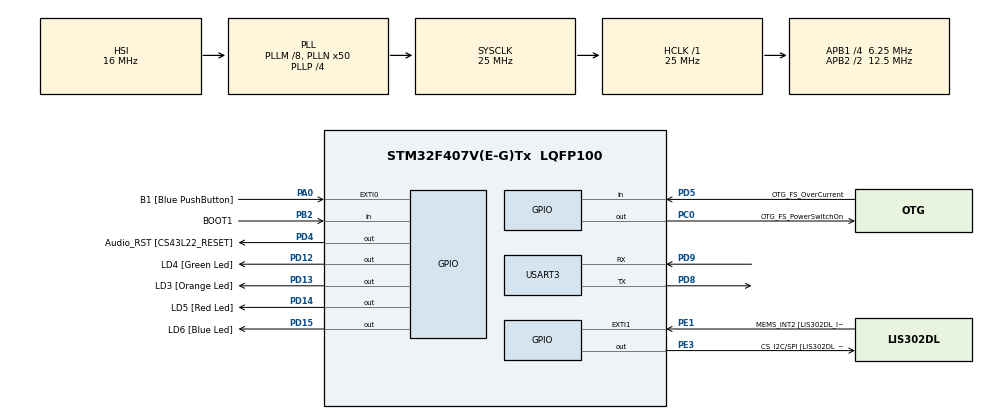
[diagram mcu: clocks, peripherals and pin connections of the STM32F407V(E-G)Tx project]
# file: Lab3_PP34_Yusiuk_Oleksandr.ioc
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FREERTOS.BinarySemaphores01=LEDBinarySemaphore,Dynamic,NULL,Depleted
FREERTOS.Tasks01=defaultTask,24,128,StartDefaultTask,Default,NULL,Dynamic,NULL,NULL;threadBlueLED,8,128,StartBlueLED,Default,NULL,Dynamic,NULL,NULL;threadRedLED,8,128,StartRedLED,Default,NULL,Dynamic,NULL,NULL;threadOrangeLED,8,128,StartOrangeLED,Default,NULL,Dynamic,NULL,NULL;threadGreenLED,8,128,StartGreenLED,Default,NULL,Dynamic,NULL,NULL
FREERTOS.configUSE_NEWLIB_REENTRANT=1
Mcu.Family=STM32F4
Mcu.Name=STM32F407V(E-G)Tx
Mcu.Package=LQFP100
NVIC.PriorityGroup=NVIC_PRIORITYGROUP_4
NVIC.TIM1_UP_TIM10_IRQn=true\:15\:0\:false\:false\:true\:false\:false\:true\:true
NVIC.TimeBase=TIM1_UP_TIM10_IRQn
NVIC.TimeBaseIP=TIM1
PA0-WKUP.GPIO_Label=B1 [Blue PushButton]
PA0-WKUP.Signal=GPXTI0
PA10.GPIO_Label=OTG_FS_ID
PA10.GPIO_Mode=GPIO_MODE_AF_PP
PA10.GPIO_PuPd=GPIO_NOPULL
PA10.GPIO_Speed=GPIO_SPEED_FREQ_LOW
PA10.Signal=USB_OTG_FS_ID
PA11.GPIO_Label=OTG_FS_DM
PA11.GPIO_Mode=GPIO_MODE_AF_PP
PA11.GPIO_PuPd=GPIO_NOPULL
PA11.GPIO_Speed=GPIO_SPEED_FREQ_LOW
PA11.Signal=USB_OTG_FS_DM
PA12.GPIO_Label=OTG_FS_DP
PA12.GPIO_Mode=GPIO_MODE_AF_PP
PA12.GPIO_PuPd=GPIO_NOPULL
PA12.GPIO_Speed=GPIO_SPEED_FREQ_LOW
PA12.Signal=USB_OTG_FS_DP
PA13.GPIO_Label=SWDIO
PA13.Signal=SYS_JTMS-SWDIO
PA14.GPIO_Label=SWCLK
PA14.Signal=SYS_JTCK-SWCLK
PA4.GPIO_Label=I2S3_WS [CS43L22_LRCK]
PA4.GPIO_Mode=GPIO_MODE_AF_PP
PA4.GPIO_PuPd=GPIO_NOPULL
PA4.GPIO_Speed=GPIO_SPEED_FREQ_LOW
PA4.Signal=I2S3_WS
PA5.GPIO_Label=SPI1_SCK [LIS302DL_SCL/SPC]
PA5.GPIO_Mode=GPIO_MODE_AF_PP
PA5.GPIO_PuPd=GPIO_NOPULL
PA5.GPIO_Speed=GPIO_SPEED_FREQ_LOW
PA5.Signal=SPI1_SCK
PA6.GPIO_Label=SPI1_MISO [LIS302DL_SDO]
PA6.GPIO_Mode=GPIO_MODE_AF_PP
PA6.GPIO_PuPd=GPIO_NOPULL
PA6.GPIO_Speed=GPIO_SPEED_FREQ_LOW
PA6.Signal=SPI1_MISO
PA7.GPIO_Label=SPI1_MOSI [LIS302DL_SDA/SDI/SDO]
PA7.GPIO_Mode=GPIO_MODE_AF_PP
PA7.GPIO_PuPd=GPIO_NOPULL
PA7.GPIO_Speed=GPIO_SPEED_FREQ_LOW
PA7.Signal=SPI1_MOSI
PA9.GPIO_Label=VBUS_FS
PA9.GPIO_Mode=GPIO_MODE_INPUT
PA9.GPIO_PuPd=GPIO_NOPULL
PA9.Signal=USB_OTG_FS_VBUS
PB10.GPIO_Label=CLK_IN [MP45DT02_CLK]
PB10.GPIO_Mode=GPIO_MODE_AF_PP
PB10.GPIO_PuPd=GPIO_NOPULL
PB10.GPIO_Speed=GPIO_SPEED_FREQ_LOW
PB10.Signal=I2S2_CK
PB2.GPIO_Label=BOOT1
PB2.GPIO_Mode=GPIO_MODE_INPUT
PB2.GPIO_PuPd=GPIO_NOPULL
PB2.Signal=GPIO_Input
PB3.GPIO_Label=SWO
PB3.Signal=SYS_JTDO-SWO
PB6.GPIO_Label=Audio_SCL [CS43L22_SCL]
PB6.GPIO_Mode=GPIO_MODE_AF_OD
PB6.GPIO_PuPd=GPIO_NOPULL
PB6.GPIO_Speed=GPIO_SPEED_FREQ_LOW
PB6.Signal=I2C1_SCL
PB9.GPIO_Label=Audio_SDA [CS43L22_SDA]
PB9.GPIO_Mode=GPIO_MODE_AF_OD
PB9.GPIO_PuPd=GPIO_NOPULL
PB9.GPIO_Speed=GPIO_SPEED_FREQ_LOW
PB9.Signal=I2C1_SDA
PC0.GPIO_Label=OTG_FS_PowerSwitchOn
PC0.GPIO_PuPd=GPIO_NOPULL
PC0.GPIO_Speed=GPIO_SPEED_FREQ_LOW
PC0.PinState=GPIO_PIN_SET
PC0.Signal=GPIO_Output
PC10.GPIO_Label=I2S3_SCK [CS43L22_SCLK]
PC10.GPIO_Mode=GPIO_MODE_AF_PP
PC10.GPIO_PuPd=GPIO_NOPULL
PC10.GPIO_Speed=GPIO_SPEED_FREQ_LOW
PC10.Signal=I2S3_CK
PC12.GPIO_Label=I2S3_SD [CS43L22_SDIN]
PC12.GPIO_Mode=GPIO_MODE_AF_PP
PC12.GPIO_PuPd=GPIO_NOPULL
PC12.GPIO_Speed=GPIO_SPEED_FREQ_LOW
PC12.Signal=I2S3_SD
PC14-OSC32_IN.GPIO_Label=PC14-OSC32_IN
PC14-OSC32_IN.Signal=RCC_OSC32_IN
PC15-OSC32_OUT.GPIO_Label=PC15-OSC32_OUT
PC15-OSC32_OUT.Signal=RCC_OSC32_OUT
PC3.GPIO_Label=PDM_OUT [MP45DT02_DOUT]
PC3.GPIO_Mode=GPIO_MODE_AF_PP
PC3.GPIO_PuPd=GPIO_NOPULL
PC3.GPIO_Speed=GPIO_SPEED_FREQ_LOW
PC3.Signal=I2S2_SD
PC7.GPIO_Label=I2S3_MCK [CS43L22_MCLK]
PC7.GPIO_Mode=GPIO_MODE_AF_PP
PC7.GPIO_PuPd=GPIO_NOPULL
PC7.GPIO_Speed=GPIO_SPEED_FREQ_LOW
PC7.Signal=I2S3_MCK
PD12.GPIO_Label=LD4 [Green Led]
PD12.GPIO_PuPd=GPIO_NOPULL
PD12.GPIO_Speed=GPIO_SPEED_FREQ_LOW
PD12.Signal=GPIO_Output
PD13.GPIO_Label=LD3 [Orange Led]
PD13.GPIO_PuPd=GPIO_NOPULL
PD13.GPIO_Speed=GPIO_SPEED_FREQ_LOW
PD13.Signal=GPIO_Output
PD14.GPIO_Label=LD5 [Red Led]
PD14.GPIO_PuPd=GPIO_NOPULL
PD14.GPIO_Speed=GPIO_SPEED_FREQ_LOW
PD14.Signal=GPIO_Output
PD15.GPIO_Label=LD6 [Blue Led]
PD15.GPIO_PuPd=GPIO_NOPULL
PD15.GPIO_Speed=GPIO_SPEED_FREQ_LOW
PD15.Signal=GPIO_Output
PD4.GPIO_Label=Audio_RST [CS43L22_RESET]
PD4.GPIO_PuPd=GPIO_NOPULL
PD4.GPIO_Speed=GPIO_SPEED_FREQ_LOW
PD4.Signal=GPIO_Output
PD5.GPIO_Label=OTG_FS_OverCurrent
PD5.GPIO_Mode=GPIO_MODE_INPUT
PD5.GPIO_PuPd=GPIO_NOPULL
PD5.Signal=GPIO_Input
PD8.Mode=Asynchronous
PD8.Signal=USART3_TX
PD9.Mode=Asynchronous
PD9.Signal=USART3_RX
PE1.GPIO_Label=MEMS_INT2 [LIS302DL_INT2]
PE1.GPIO_ModeDefaultEXTI=GPIO_MODE_EVT_RISING
PE1.GPIO_PuPd=GPIO_NOPULL
PE1.Signal=GPXTI1
PE3.GPIO_Label=CS_I2C/SPI [LIS302DL_CS_I2C/SPI]
PE3.GPIO_PuPd=GPIO_NOPULL
PE3.GPIO_Speed=GPIO_SPEED_FREQ_LOW
PE3.Signal=GPIO_Output
PH0-OSC_IN.GPIO_Label=PH0-OSC_IN
PH0-OSC_IN.Signal=RCC_OSC_IN
PH1-OSC_OUT.GPIO_Label=PH1-OSC_OUT
PH1-OSC_OUT.Signal=RCC_OSC_OUT
ProjectManager.HeapSize=0x200
ProjectManager.StackSize=0x400
ProjectManager.TargetToolchain=STM32CubeIDE
RCC.48MHZClocksFreq_Value=14285714.285714285
RCC.AHBFreq_Value=25000000
RCC.APB1CLKDivider=RCC_HCLK_DIV4
RCC.APB1Freq_Value=6250000
RCC.APB1TimFreq_Value=12500000
RCC.APB2CLKDivider=RCC_HCLK_DIV2
RCC.APB2Freq_Value=12500000
RCC.APB2TimFreq_Value=25000000
RCC.CortexFreq_Value=25000000
RCC.HCLKFreq_Value=25000000
RCC.HSE_VALUE=8000000
RCC.HSI_VALUE=16000000
RCC.LSE_VALUE=32768
RCC.PLLM=8
RCC.PLLN=50
RCC.PLLP=RCC_PLLP_DIV4
RCC.PLLQ=7
RCC.SYSCLKFreq_VALUE=25000000
RCC.SYSCLKSource=RCC_SYSCLKSOURCE_PLLCLK
RCC.VCOOutputFreq_Value=100000000
USART3.VirtualMode=VM_ASYNC
VP_FREERTOS_VS_CMSIS_V2.Mode=CMSIS_V2
VP_SYS_VS_tim1.Mode=TIM1
board=STM32F407G-DISC1

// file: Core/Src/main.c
/* USER CODE BEGIN Header */
/**
  ******************************************************************************
  * @file           : main.c
  * @brief          : Main program body
  ******************************************************************************
  * @attention
  *
  * Copyright (c) 2024 STMicroelectronics.
  * All rights reserved.
  *
  * This software is licensed under terms that can be found in the LICENSE file
  * in the root directory of this software component.
  * If no LICENSE file comes with this software, it is provided AS-IS.
  *
  ******************************************************************************
  */
/* USER CODE END Header */
#include "main.h"
#include "cmsis_os.h"

#include "stdio.h"

UART_HandleTypeDef huart3;

/* Definitions for defaultTask */
osThreadId_t defaultTaskHandle;
const osThreadAttr_t defaultTask_attributes = {
  .name = "defaultTask",
  .stack_size = 128 * 4,
  .priority = (osPriority_t) osPriorityNormal,
};
/* Definitions for threadBlueLED */
osThreadId_t threadBlueLEDHandle;
const osThreadAttr_t threadBlueLED_attributes = {
  .name = "threadBlueLED",
  .stack_size = 128 * 4,
  .priority = (osPriority_t) osPriorityLow,
};
/* Definitions for threadRedLED */
osThreadId_t threadRedLEDHandle;
const osThreadAttr_t threadRedLED_attributes = {
  .name = "threadRedLED",
  .stack_size = 128 * 4,
  .priority = (osPriority_t) osPriorityLow,
};
/* Definitions for threadOrangeLED */
osThreadId_t threadOrangeLEDHandle;
const osThreadAttr_t threadOrangeLED_attributes = {
  .name = "threadOrangeLED",
  .stack_size = 128 * 4,
  .priority = (osPriority_t) osPriorityLow,
};
/* Definitions for threadGreenLED */
osThreadId_t threadGreenLEDHandle;
const osThreadAttr_t threadGreenLED_attributes = {
  .name = "threadGreenLED",
  .stack_size = 128 * 4,
  .priority = (osPriority_t) osPriorityLow,
};
/* Definitions for LEDBinarySemaphore */
osSemaphoreId_t LEDBinarySemaphoreHandle;
const osSemaphoreAttr_t LEDBinarySemaphore_attributes = {
  .name = "LEDBinarySemaphore"
};
/* USER CODE BEGIN PV */
int16_t currentClick = 0;
int16_t prevClick = 0;
/* USER CODE END PV */

void SystemClock_Config(void);
static void MX_GPIO_Init(void);
static void MX_USART3_UART_Init(void);
void StartDefaultTask(void *argument);
void StartBlueLED(void *argument);
void StartRedLED(void *argument);
void StartOrangeLED(void *argument);
void StartGreenLED(void *argument);

/* USER CODE BEGIN 0 */
int __io_putchar(int ch)
{
	HAL_UART_Transmit(&huart3, (uint8_t *)&ch, 1, 200);
	return ch;
}
/* USER CODE END 0 */

int main(void)
{

  /* MCU Configuration--------------------------------------------------------*/

  /* Reset of all peripherals, Initializes the Flash interface and the Systick. */
  HAL_Init();

  /* Configure the system clock */
  SystemClock_Config();

  /* Initialize all configured peripherals */
  MX_GPIO_Init();
  MX_USART3_UART_Init();
  /* USER CODE BEGIN 2 */
  printf("ehskere\n\r");
  /* USER CODE END 2 */

  /* Init scheduler */
  osKernelInitialize();

  /* Create the semaphores(s) */
  /* creation of LEDBinarySemaphore */
  LEDBinarySemaphoreHandle = osSemaphoreNew(1, 0, &LEDBinarySemaphore_attributes);

  /* Create the thread(s) */
  /* creation of defaultTask */
  defaultTaskHandle = osThreadNew(StartDefaultTask, NULL, &defaultTask_attributes);

  /* creation of threadBlueLED */
  threadBlueLEDHandle = osThreadNew(StartBlueLED, NULL, &threadBlueLED_attributes);

  /* creation of threadRedLED */
  threadRedLEDHandle = osThreadNew(StartRedLED, NULL, &threadRedLED_attributes);

  /* creation of threadOrangeLED */
  threadOrangeLEDHandle = osThreadNew(StartOrangeLED, NULL, &threadOrangeLED_attributes);

  /* creation of threadGreenLED */
  threadGreenLEDHandle = osThreadNew(StartGreenLED, NULL, &threadGreenLED_attributes);

  /* Start scheduler */
  osKernelStart();

  /* We should never get here as control is now taken by the scheduler */

  /* Infinite loop */
  while (1)
  {

  }
}

void SystemClock_Config(void)
{
  RCC_OscInitTypeDef RCC_OscInitStruct = {0};
  RCC_ClkInitTypeDef RCC_ClkInitStruct = {0};

  /** Configure the main internal regulator output voltage
  */
  __HAL_RCC_PWR_CLK_ENABLE();
  __HAL_PWR_VOLTAGESCALING_CONFIG(PWR_REGULATOR_VOLTAGE_SCALE1);

  /** Initializes the RCC Oscillators according to the specified parameters
  * in the RCC_OscInitTypeDef structure.
  */
  RCC_OscInitStruct.OscillatorType = RCC_OSCILLATORTYPE_HSI;
  RCC_OscInitStruct.HSIState = RCC_HSI_ON;
  RCC_OscInitStruct.HSICalibrationValue = RCC_HSICALIBRATION_DEFAULT;
  RCC_OscInitStruct.PLL.PLLState = RCC_PLL_ON;
  RCC_OscInitStruct.PLL.PLLSource = RCC_PLLSOURCE_HSI;
  RCC_OscInitStruct.PLL.PLLM = 8;
  RCC_OscInitStruct.PLL.PLLN = 50;
  RCC_OscInitStruct.PLL.PLLP = RCC_PLLP_DIV4;
  RCC_OscInitStruct.PLL.PLLQ = 7;
  if (HAL_RCC_OscConfig(&RCC_OscInitStruct) != HAL_OK)
  {
    Error_Handler();
  }

  /** Initializes the CPU, AHB and APB buses clocks
  */
  RCC_ClkInitStruct.ClockType = RCC_CLOCKTYPE_HCLK|RCC_CLOCKTYPE_SYSCLK
                              |RCC_CLOCKTYPE_PCLK1|RCC_CLOCKTYPE_PCLK2;
  RCC_ClkInitStruct.SYSCLKSource = RCC_SYSCLKSOURCE_PLLCLK;
  RCC_ClkInitStruct.AHBCLKDivider = RCC_SYSCLK_DIV1;
  RCC_ClkInitStruct.APB1CLKDivider = RCC_HCLK_DIV4;
  RCC_ClkInitStruct.APB2CLKDivider = RCC_HCLK_DIV2;

  if (HAL_RCC_ClockConfig(&RCC_ClkInitStruct, FLASH_LATENCY_0) != HAL_OK)
  {
    Error_Handler();
  }
}

static void MX_USART3_UART_Init(void)
{

  huart3.Instance = USART3;
  huart3.Init.BaudRate = 115200;
  huart3.Init.WordLength = UART_WORDLENGTH_8B;
  huart3.Init.StopBits = UART_STOPBITS_1;
  huart3.Init.Parity = UART_PARITY_NONE;
  huart3.Init.Mode = UART_MODE_TX_RX;
  huart3.Init.HwFlowCtl = UART_HWCONTROL_NONE;
  huart3.Init.OverSampling = UART_OVERSAMPLING_16;
  if (HAL_UART_Init(&huart3) != HAL_OK)
  {
    Error_Handler();
  }

}

static void MX_GPIO_Init(void)
{
  GPIO_InitTypeDef GPIO_InitStruct = {0};

  /* GPIO Ports Clock Enable */
  __HAL_RCC_GPIOE_CLK_ENABLE();
  __HAL_RCC_GPIOC_CLK_ENABLE();
  __HAL_RCC_GPIOH_CLK_ENABLE();
  __HAL_RCC_GPIOA_CLK_ENABLE();
  __HAL_RCC_GPIOB_CLK_ENABLE();
  __HAL_RCC_GPIOD_CLK_ENABLE();

  /*Configure GPIO pin Output Level */
  HAL_GPIO_WritePin(CS_I2C_SPI_GPIO_Port, CS_I2C_SPI_Pin, GPIO_PIN_RESET);

  /*Configure GPIO pin Output Level */
  HAL_GPIO_WritePin(OTG_FS_PowerSwitchOn_GPIO_Port, OTG_FS_PowerSwitchOn_Pin, GPIO_PIN_SET);

  /*Configure GPIO pin Output Level */
  HAL_GPIO_WritePin(GPIOD, LD4_Pin|LD3_Pin|LD5_Pin|LD6_Pin
                          |Audio_RST_Pin, GPIO_PIN_RESET);

  /*Configure GPIO pin : CS_I2C_SPI_Pin */
  GPIO_InitStruct.Pin = CS_I2C_SPI_Pin;
  GPIO_InitStruct.Mode = GPIO_MODE_OUTPUT_PP;
  GPIO_InitStruct.Pull = GPIO_NOPULL;
  GPIO_InitStruct.Speed = GPIO_SPEED_FREQ_LOW;
  HAL_GPIO_Init(CS_I2C_SPI_GPIO_Port, &GPIO_InitStruct);

  /*Configure GPIO pin : OTG_FS_PowerSwitchOn_Pin */
  GPIO_InitStruct.Pin = OTG_FS_PowerSwitchOn_Pin;
  GPIO_InitStruct.Mode = GPIO_MODE_OUTPUT_PP;
  GPIO_InitStruct.Pull = GPIO_NOPULL;
  GPIO_InitStruct.Speed = GPIO_SPEED_FREQ_LOW;
  HAL_GPIO_Init(OTG_FS_PowerSwitchOn_GPIO_Port, &GPIO_InitStruct);

  /*Configure GPIO pin : PDM_OUT_Pin */
  GPIO_InitStruct.Pin = PDM_OUT_Pin;
  GPIO_InitStruct.Mode = GPIO_MODE_AF_PP;
  GPIO_InitStruct.Pull = GPIO_NOPULL;
  GPIO_InitStruct.Speed = GPIO_SPEED_FREQ_LOW;
  GPIO_InitStruct.Alternate = GPIO_AF5_SPI2;
  HAL_GPIO_Init(PDM_OUT_GPIO_Port, &GPIO_InitStruct);

  /*Configure GPIO pin : B1_Pin */
  GPIO_InitStruct.Pin = B1_Pin;
  GPIO_InitStruct.Mode = GPIO_MODE_IT_RISING;
  GPIO_InitStruct.Pull = GPIO_NOPULL;
  HAL_GPIO_Init(B1_GPIO_Port, &GPIO_InitStruct);

  /*Configure GPIO pin : I2S3_WS_Pin */
  GPIO_InitStruct.Pin = I2S3_WS_Pin;
  GPIO_InitStruct.Mode = GPIO_MODE_AF_PP;
  GPIO_InitStruct.Pull = GPIO_NOPULL;
  GPIO_InitStruct.Speed = GPIO_SPEED_FREQ_LOW;
  GPIO_InitStruct.Alternate = GPIO_AF6_SPI3;
  HAL_GPIO_Init(I2S3_WS_GPIO_Port, &GPIO_InitStruct);

  /*Configure GPIO pins : SPI1_SCK_Pin SPI1_MISO_Pin SPI1_MOSI_Pin */
  GPIO_InitStruct.Pin = SPI1_SCK_Pin|SPI1_MISO_Pin|SPI1_MOSI_Pin;
  GPIO_InitStruct.Mode = GPIO_MODE_AF_PP;
  GPIO_InitStruct.Pull = GPIO_NOPULL;
  GPIO_InitStruct.Speed = GPIO_SPEED_FREQ_LOW;
  GPIO_InitStruct.Alternate = GPIO_AF5_SPI1;
  HAL_GPIO_Init(GPIOA, &GPIO_InitStruct);

  /*Configure GPIO pin : BOOT1_Pin */
  GPIO_InitStruct.Pin = BOOT1_Pin;
  GPIO_InitStruct.Mode = GPIO_MODE_INPUT;
  GPIO_InitStruct.Pull = GPIO_NOPULL;
  HAL_GPIO_Init(BOOT1_GPIO_Port, &GPIO_InitStruct);

  /*Configure GPIO pin : CLK_IN_Pin */
  GPIO_InitStruct.Pin = CLK_IN_Pin;
  GPIO_InitStruct.Mode = GPIO_MODE_AF_PP;
  GPIO_InitStruct.Pull = GPIO_NOPULL;
  GPIO_InitStruct.Speed = GPIO_SPEED_FREQ_LOW;
  GPIO_InitStruct.Alternate = GPIO_AF5_SPI2;
  HAL_GPIO_Init(CLK_IN_GPIO_Port, &GPIO_InitStruct);

  /*Configure GPIO pins : LD4_Pin LD3_Pin LD5_Pin LD6_Pin
                           Audio_RST_Pin */
  GPIO_InitStruct.Pin = LD4_Pin|LD3_Pin|LD5_Pin|LD6_Pin
                          |Audio_RST_Pin;
  GPIO_InitStruct.Mode = GPIO_MODE_OUTPUT_PP;
  GPIO_InitStruct.Pull = GPIO_NOPULL;
  GPIO_InitStruct.Speed = GPIO_SPEED_FREQ_LOW;
  HAL_GPIO_Init(GPIOD, &GPIO_InitStruct);

  /*Configure GPIO pins : I2S3_MCK_Pin I2S3_SCK_Pin I2S3_SD_Pin */
  GPIO_InitStruct.Pin = I2S3_MCK_Pin|I2S3_SCK_Pin|I2S3_SD_Pin;
  GPIO_InitStruct.Mode = GPIO_MODE_AF_PP;
  GPIO_InitStruct.Pull = GPIO_NOPULL;
  GPIO_InitStruct.Speed = GPIO_SPEED_FREQ_LOW;
  GPIO_InitStruct.Alternate = GPIO_AF6_SPI3;
  HAL_GPIO_Init(GPIOC, &GPIO_InitStruct);

  /*Configure GPIO pin : VBUS_FS_Pin */
  GPIO_InitStruct.Pin = VBUS_FS_Pin;
  GPIO_InitStruct.Mode = GPIO_MODE_INPUT;
  GPIO_InitStruct.Pull = GPIO_NOPULL;
  HAL_GPIO_Init(VBUS_FS_GPIO_Port, &GPIO_InitStruct);

  /*Configure GPIO pins : OTG_FS_ID_Pin OTG_FS_DM_Pin OTG_FS_DP_Pin */
  GPIO_InitStruct.Pin = OTG_FS_ID_Pin|OTG_FS_DM_Pin|OTG_FS_DP_Pin;
  GPIO_InitStruct.Mode = GPIO_MODE_AF_PP;
  GPIO_InitStruct.Pull = GPIO_NOPULL;
  GPIO_InitStruct.Speed = GPIO_SPEED_FREQ_LOW;
  GPIO_InitStruct.Alternate = GPIO_AF10_OTG_FS;
  HAL_GPIO_Init(GPIOA, &GPIO_InitStruct);

  /*Configure GPIO pin : OTG_FS_OverCurrent_Pin */
  GPIO_InitStruct.Pin = OTG_FS_OverCurrent_Pin;
  GPIO_InitStruct.Mode = GPIO_MODE_INPUT;
  GPIO_InitStruct.Pull = GPIO_NOPULL;
  HAL_GPIO_Init(OTG_FS_OverCurrent_GPIO_Port, &GPIO_InitStruct);

  /*Configure GPIO pins : Audio_SCL_Pin Audio_SDA_Pin */
  GPIO_InitStruct.Pin = Audio_SCL_Pin|Audio_SDA_Pin;
  GPIO_InitStruct.Mode = GPIO_MODE_AF_OD;
  GPIO_InitStruct.Pull = GPIO_NOPULL;
  GPIO_InitStruct.Speed = GPIO_SPEED_FREQ_LOW;
  GPIO_InitStruct.Alternate = GPIO_AF4_I2C1;
  HAL_GPIO_Init(GPIOB, &GPIO_InitStruct);

  /*Configure GPIO pin : MEMS_INT2_Pin */
  GPIO_InitStruct.Pin = MEMS_INT2_Pin;
  GPIO_InitStruct.Mode = GPIO_MODE_EVT_RISING;
  GPIO_InitStruct.Pull = GPIO_NOPULL;
  HAL_GPIO_Init(MEMS_INT2_GPIO_Port, &GPIO_InitStruct);

}

/* USER CODE BEGIN 4 */
static uint16_t delayLED = 195;
uint16_t delayTable[3] = {500, 1000, 2000};
uint8_t delayCounter = 0;
uint8_t doubleClick = 0;

HAL_StatusTypeDef status = HAL_ERROR;

void SwitchDelay(void)
{
	switch (delayCounter)
	{
		case 0:
			delayLED = 500;
			delayCounter++;
			break;
		case 1:
			delayLED = 1000;
			delayCounter++;
			break;
		case 2:
			delayLED = 2000;
			delayCounter = 0;
			break;
		default:
			delayLED = 200;
			delayCounter = 0;
	}
	osDelay(delayLED);
	printf("Changed LED delay to %d ms.\n\r", delayLED);
}
/* USER CODE END 4 */

void StartDefaultTask(void *argument)
{
  /* USER CODE BEGIN 5 */

  /* Infinite loop */
  for(;;)
  {
	osDelay(1);
    if (HAL_GPIO_ReadPin(GPIOA, GPIO_PIN_0) == GPIO_PIN_SET)
    {
    	currentClick = HAL_GetTick();
    	osDelay(200);

    	uint8_t i = 0;
    	while (i != 100)
    	{
    		osDelay(1);
    		i++;
    		if (HAL_GPIO_ReadPin(GPIOA, GPIO_PIN_0) == GPIO_PIN_SET)
    		{
    			SwitchDelay();
    			doubleClick = 1;
    		}
    	}
    	if ( ((HAL_GPIO_ReadPin(GPIOD, GPIO_PIN_15) | HAL_GPIO_ReadPin(GPIOD, GPIO_PIN_14) | HAL_GPIO_ReadPin(GPIOD, GPIO_PIN_13) | HAL_GPIO_ReadPin(GPIOD, GPIO_PIN_12) ) == 0 ) && (doubleClick == 0))
    	{
    		osSemaphoreRelease(LEDBinarySemaphoreHandle);
    		prevClick = currentClick;
    	}

    	else if (HAL_GPIO_ReadPin(GPIOD, GPIO_PIN_15) | HAL_GPIO_ReadPin(GPIOD, GPIO_PIN_14) | HAL_GPIO_ReadPin(GPIOD, GPIO_PIN_13) | HAL_GPIO_ReadPin(GPIOD, GPIO_PIN_12) && (doubleClick == 0))
    	{
    		osSemaphoreAcquire(LEDBinarySemaphoreHandle, 2000);
    		osDelay(50);
    		HAL_GPIO_WritePin(GPIOD, GPIO_PIN_15, GPIO_PIN_RESET);
    		HAL_GPIO_WritePin(GPIOD, GPIO_PIN_14, GPIO_PIN_RESET);
    		HAL_GPIO_WritePin(GPIOD, GPIO_PIN_13, GPIO_PIN_RESET);
    		HAL_GPIO_WritePin(GPIOD, GPIO_PIN_12, GPIO_PIN_RESET);
    		prevClick = currentClick;
    	}
    	doubleClick = 0;
    }
  }
  /* USER CODE END 5 */
}

void StartBlueLED(void *argument)
{
  /* USER CODE BEGIN StartBlueLED */
  /* Infinite loop */
	// LEDBinarySemaphoreHandle
  for(;;)
  {
    osSemaphoreAcquire(LEDBinarySemaphoreHandle, osWaitForever);
    HAL_GPIO_WritePin(GPIOD, GPIO_PIN_15, GPIO_PIN_SET);
    osDelay(delayLED);
    osSemaphoreRelease(LEDBinarySemaphoreHandle);
    osDelay(5);

	osSemaphoreAcquire(LEDBinarySemaphoreHandle, osWaitForever);
	HAL_GPIO_WritePin(GPIOD, GPIO_PIN_15, GPIO_PIN_RESET);

	osSemaphoreRelease(LEDBinarySemaphoreHandle);
	osDelay(5);
  }
  /* USER CODE END StartBlueLED */
}

void StartRedLED(void *argument)
{
  /* USER CODE BEGIN StartRedLED */
  /* Infinite loop */
  for(;;)
  {
    osSemaphoreAcquire(LEDBinarySemaphoreHandle, osWaitForever);
    HAL_GPIO_WritePin(GPIOD, GPIO_PIN_14, GPIO_PIN_SET);
	osDelay(delayLED);
	osSemaphoreRelease(LEDBinarySemaphoreHandle);
	osDelay(5);

	osSemaphoreAcquire(LEDBinarySemaphoreHandle, osWaitForever);
	HAL_GPIO_WritePin(GPIOD, GPIO_PIN_14, GPIO_PIN_RESET);

	osSemaphoreRelease(LEDBinarySemaphoreHandle);
	osDelay(5);
  }
  /* USER CODE END StartRedLED */
}

void StartOrangeLED(void *argument)
{
  /* USER CODE BEGIN StartOrangeLED */
  /* Infinite loop */
  for(;;)
  {
    osSemaphoreAcquire(LEDBinarySemaphoreHandle, osWaitForever);
    HAL_GPIO_WritePin(GPIOD, GPIO_PIN_13, GPIO_PIN_SET);
    osDelay(delayLED);
	osSemaphoreRelease(LEDBinarySemaphoreHandle);
	osDelay(5);

	osSemaphoreAcquire(LEDBinarySemaphoreHandle, osWaitForever);
	HAL_GPIO_WritePin(GPIOD, GPIO_PIN_13, GPIO_PIN_RESET);

	osSemaphoreRelease(LEDBinarySemaphoreHandle);
	osDelay(5);
  }
  /* USER CODE END StartOrangeLED */
}

void StartGreenLED(void *argument)
{
  /* USER CODE BEGIN StartGreenLED */
  /* Infinite loop */
  for(;;)
  {
    osSemaphoreAcquire(LEDBinarySemaphoreHandle, osWaitForever);
    HAL_GPIO_WritePin(GPIOD, GPIO_PIN_12, GPIO_PIN_SET);
    osDelay(delayLED);
	osSemaphoreRelease(LEDBinarySemaphoreHandle);
	osDelay(5);

	osSemaphoreAcquire(LEDBinarySemaphoreHandle, osWaitForever);
	HAL_GPIO_WritePin(GPIOD, GPIO_PIN_12, GPIO_PIN_RESET);
	osDelay(delayLED);

	osSemaphoreRelease(LEDBinarySemaphoreHandle);
	osDelay(5);
  }
  /* USER CODE END StartGreenLED */
}

void HAL_TIM_PeriodElapsedCallback(TIM_HandleTypeDef *htim)
{
  if (htim->Instance == TIM1) {
    HAL_IncTick();
  }
}

void Error_Handler(void)
{
  __disable_irq();
  while (1)
  {
  }
}
